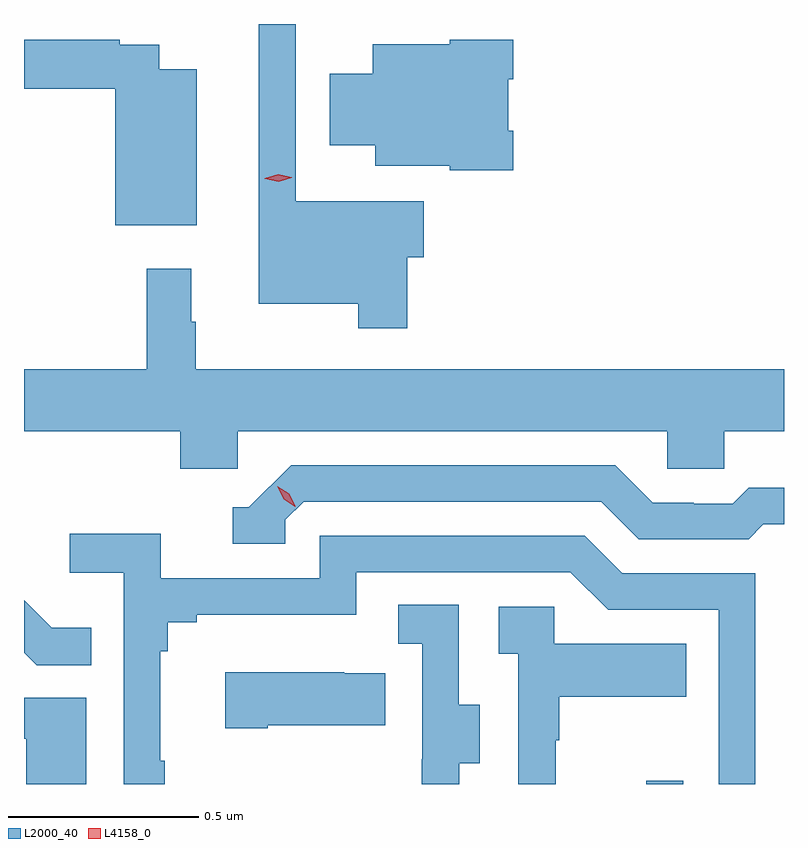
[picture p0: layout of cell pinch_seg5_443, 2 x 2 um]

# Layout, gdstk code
import gdstk
lib = gdstk.Library(unit=1e-6, precision=1e-09)
def R(c, l, rs):  # rectangles x0, y0, x1, y1
    for r in rs: c.add(gdstk.rectangle(r[:2], r[2:], *l))
def P(c, l, *ps):  # polygons
    for p in ps: c.add(gdstk.Polygon(p, *l))
L2000_40 = (2000, 40)
L4158_0 = (4158, 0)

pinch_seg5_443 = lib.new_cell('pinch_seg5_443')
R(pinch_seg5_443, L2000_40, [(923.552,873.148,923.649,873.157)])
P(pinch_seg5_443, L2000_40, [(922.922,874.534),(922.966,874.534),(922.966,874.681),(922.629,874.681),(922.629,875.148),(922.532,875.148),(922.532,874.412),(922.794,874.412),(922.794,874.347),(922.922,874.347)],
  [(922.369,875.029),(922.27,875.029),(922.27,875.094),(922.166,875.094),(922.166,875.107),(921.914,875.107),(921.914,874.978),(922.154,874.978),(922.154,874.619),(922.369,874.619)],
  [(923.201,874.867),(923.188,874.867),(923.188,875.003),(923.201,875.003),(923.201,875.107),(923.034,875.107),(923.034,875.095),(922.832,875.095),(922.832,875.017),(922.718,875.017),(922.718,874.829),(922.838,874.829),(922.838,874.775),(923.034,874.775),(923.034,874.763),(923.201,874.763)],
  [(922.476,874.076),(923.607,874.076),(923.607,873.978),(923.757,873.978),(923.757,874.076),(923.914,874.076),(923.914,874.24),(922.366,874.24),(922.366,874.364),(922.354,874.364),(922.354,874.504),(922.237,874.504),(922.237,874.24),(921.914,874.24),(921.914,874.076),(922.325,874.076),(922.325,873.978),(922.476,873.978)],
  [(922.602,873.843),(922.65,873.891),(923.433,873.891),(923.532,873.792),(923.821,873.792),(923.86,873.831),(923.914,873.831),(923.914,873.928),(923.821,873.928),(923.779,873.885),(923.676,873.885),(923.676,873.888),(923.569,873.888),(923.47,873.987),(922.617,873.987),(922.506,873.876),(922.463,873.876),(922.463,873.78),(922.602,873.78)],
  [(922.285,873.209),(922.273,873.209),(922.273,873.497),(922.292,873.497),(922.292,873.574),(922.369,873.574),(922.369,873.593),(922.788,873.593),(922.788,873.705),(923.352,873.705),(923.451,873.606),(923.742,873.606),(923.742,873.148),(923.838,873.148),(923.838,873.702),(923.488,873.702),(923.389,873.801),(922.692,873.801),(922.692,873.69),(922.274,873.69),(922.274,873.806),(922.035,873.806),(922.035,873.704),(922.176,873.704),(922.176,873.148),(922.285,873.148)],
  [(922.091,873.559),(921.987,873.559),(921.914,873.632),(921.914,873.493),(921.947,873.46),(922.091,873.46)],
  [(923.059,873.202),(923.113,873.202),(923.113,873.357),(923.058,873.357),(923.058,873.62),(922.899,873.62),(922.899,873.517),(922.962,873.517),(922.962,873.213),(922.961,873.213),(922.961,873.148),(923.059,873.148)],
  [(923.313,873.263),(923.323,873.263),(923.323,873.377),(923.657,873.377),(923.657,873.517),(923.31,873.517),(923.31,873.615),(923.163,873.615),(923.163,873.491),(923.214,873.491),(923.214,873.148),(923.313,873.148)],
  [(922.555,873.302),(922.865,873.302),(922.865,873.439),(922.757,873.439),(922.757,873.442),(922.443,873.442),(922.443,873.295),(922.555,873.295)],
  [(922.078,873.375),(921.914,873.375),(921.914,873.267),(921.92,873.267),(921.92,873.148),(922.078,873.148)])
P(pinch_seg5_443, L4158_0, [(922.584,874.733),(922.548,874.741),(922.548,874.742),(922.548,874.742),(922.583,874.753),(922.618,874.745),(922.619,874.745),(922.618,874.744)],
  [(922.628,873.878),(922.597,873.898),(922.581,873.931),(922.581,873.932),(922.581,873.932),(922.612,873.912),(922.628,873.879),(922.628,873.878)])

lib.write_gds('pinch_seg5_443.gds')
